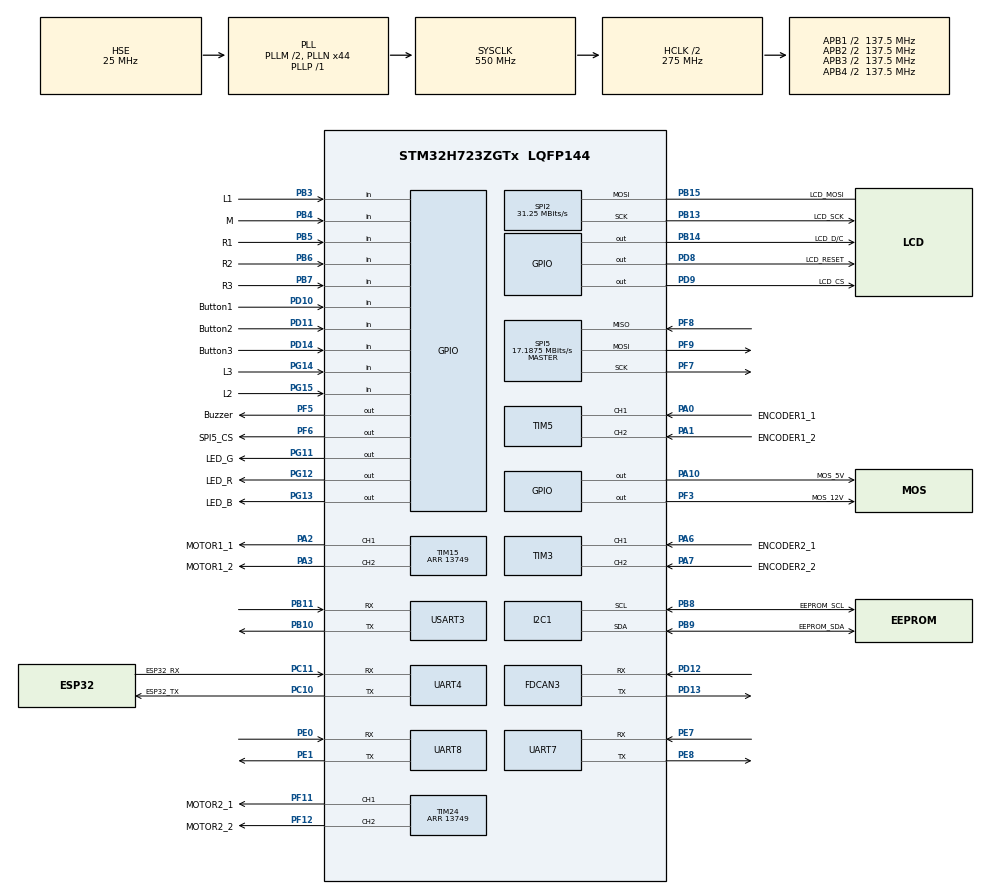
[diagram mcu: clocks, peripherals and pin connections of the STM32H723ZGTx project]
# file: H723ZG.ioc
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CORTEX_M7.default_mode_Activation=1
Dma.Request0=SPI2_TX
Dma.SPI2_TX.0.Direction=DMA_MEMORY_TO_PERIPH
Dma.SPI2_TX.0.EventEnable=DISABLE
Dma.SPI2_TX.0.FIFOMode=DMA_FIFOMODE_DISABLE
Dma.SPI2_TX.0.Instance=DMA1_Stream0
Dma.SPI2_TX.0.MemDataAlignment=DMA_MDATAALIGN_BYTE
Dma.SPI2_TX.0.MemInc=DMA_MINC_ENABLE
Dma.SPI2_TX.0.Mode=DMA_NORMAL
Dma.SPI2_TX.0.PeriphDataAlignment=DMA_PDATAALIGN_BYTE
Dma.SPI2_TX.0.PeriphInc=DMA_PINC_DISABLE
Dma.SPI2_TX.0.Polarity=HAL_DMAMUX_REQ_GEN_RISING
Dma.SPI2_TX.0.Priority=DMA_PRIORITY_HIGH
Dma.SPI2_TX.0.RequestNumber=1
Dma.SPI2_TX.0.SignalID=NONE
Dma.SPI2_TX.0.SyncEnable=DISABLE
Dma.SPI2_TX.0.SyncPolarity=HAL_DMAMUX_SYNC_NO_EVENT
Dma.SPI2_TX.0.SyncRequestNumber=1
Dma.SPI2_TX.0.SyncSignalID=NONE
FDCAN3.CalculateBaudRateNominal=2864583
FDCAN3.CalculateTimeBitNominal=349
FDCAN3.CalculateTimeQuantumNominal=116.36363636363636
FDCAN3.FrameFormat=FDCAN_FRAME_FD_BRS
I2C1.Timing=0x60404E72
Mcu.Family=STM32H7
Mcu.Name=STM32H723ZGTx
Mcu.Package=LQFP144
NVIC.DMA1_Stream0_IRQn=true\:5\:0\:false\:false\:true\:false\:true\:true
NVIC.SPI2_IRQn=true\:5\:0\:false\:false\:true\:true\:true\:true
NVIC.PriorityGroup=NVIC_PRIORITYGROUP_4
NVIC.TIM17_IRQn=true\:0\:0\:false\:false\:true\:true\:true\:true
PA0.GPIO_Label=ENCODER1_1
PA0.Signal=S_TIM5_CH1
PA1.GPIO_Label=ENCODER1_2
PA1.Signal=S_TIM5_CH2
PA10.GPIO_Label=MOS_5V
PA10.Signal=GPIO_Output
PA13(JTMS/SWDIO).Mode=Serial_Wire
PA13(JTMS/SWDIO).Signal=DEBUG_JTMS-SWDIO
PA14(JTCK/SWCLK).Mode=Serial_Wire
PA14(JTCK/SWCLK).Signal=DEBUG_JTCK-SWCLK
PA2.GPIO_Label=MOTOR1_1
PA2.Signal=S_TIM15_CH1
PA3.GPIO_Label=MOTOR1_2
PA3.Signal=S_TIM15_CH2
PA6.GPIO_Label=ENCODER2_1
PA6.Signal=S_TIM3_CH1
PA7.GPIO_Label=ENCODER2_2
PA7.Signal=S_TIM3_CH2
PB10.Mode=Asynchronous
PB10.Signal=USART3_TX
PB11.Mode=Asynchronous
PB11.Signal=USART3_RX
PB13.GPIO_Label=LCD_SCK
PB13.GPIO_Speed=GPIO_SPEED_FREQ_VERY_HIGH
PB13.Mode=Simplex_Bidirectional_Master
PB13.Signal=SPI2_SCK
PB14.GPIO_Label=LCD_D/C
PB14.Signal=GPIO_Output
PB15.GPIO_Label=LCD_MOSI
PB15.GPIO_Speed=GPIO_SPEED_FREQ_VERY_HIGH
PB15.Mode=Simplex_Bidirectional_Master
PB15.Signal=SPI2_MOSI
PB3(JTDO/TRACESWO).GPIO_Label=L1
PB3(JTDO/TRACESWO).GPIO_PuPd=GPIO_PULLUP
PB3(JTDO/TRACESWO).Signal=GPIO_Input
PB4(NJTRST).GPIO_Label=M
PB4(NJTRST).GPIO_PuPd=GPIO_PULLUP
PB4(NJTRST).Signal=GPIO_Input
PB5.GPIO_Label=R1
PB5.GPIO_PuPd=GPIO_PULLUP
PB5.Signal=GPIO_Input
PB6.GPIO_Label=R2
PB6.GPIO_PuPd=GPIO_PULLUP
PB6.Signal=GPIO_Input
PB7.GPIO_Label=R3
PB7.GPIO_PuPd=GPIO_PULLUP
PB7.Signal=GPIO_Input
PB8.GPIO_Label=EEPROM_SCL
PB8.Mode=I2C
PB8.Signal=I2C1_SCL
PB9.GPIO_Label=EEPROM_SDA
PB9.Mode=I2C
PB9.Signal=I2C1_SDA
PC10.GPIO_Label=ESP32_TX
PC10.Mode=Asynchronous
PC10.Signal=UART4_TX
PC11.GPIO_Label=ESP32_RX
PC11.Mode=Asynchronous
PC11.Signal=UART4_RX
PD10.GPIO_Label=Button1
PD10.GPIO_PuPd=GPIO_PULLUP
PD10.Signal=GPIO_Input
PD11.GPIO_Label=Button2
PD11.GPIO_PuPd=GPIO_PULLUP
PD11.Signal=GPIO_Input
PD12.Mode=FDCAN_Activate
PD12.Signal=FDCAN3_RX
PD13.Mode=FDCAN_Activate
PD13.Signal=FDCAN3_TX
PD14.GPIO_Label=Button3
PD14.GPIO_PuPd=GPIO_PULLUP
PD14.Signal=GPIO_Input
PD8.GPIO_Label=LCD_RESET
PD8.Signal=GPIO_Output
PD9.GPIO_Label=LCD_CS
PD9.Signal=GPIO_Output
PE0.Mode=Asynchronous
PE0.Signal=UART8_RX
PE1.Mode=Asynchronous
PE1.Signal=UART8_TX
PE7.Mode=Asynchronous
PE7.Signal=UART7_RX
PE8.Mode=Asynchronous
PE8.Signal=UART7_TX
PF11.GPIO_Label=MOTOR2_1
PF11.Mode=PWM Generation1 CH1
PF11.Signal=TIM24_CH1
PF12.GPIO_Label=MOTOR2_2
PF12.Signal=S_TIM24_CH2
PF3.GPIO_Label=MOS_12V
PF3.Signal=GPIO_Output
PF5.GPIO_Label=Buzzer
PF5.Signal=GPIO_Output
PF6.GPIO_Label=SPI5_CS
PF6.Signal=GPIO_Output
PF7.Mode=Full_Duplex_Master
PF7.Signal=SPI5_SCK
PF8.Mode=Full_Duplex_Master
PF8.Signal=SPI5_MISO
PF9.Mode=Full_Duplex_Master
PF9.Signal=SPI5_MOSI
PG11.GPIO_Label=LED_G
PG11.PinState=GPIO_PIN_SET
PG11.Signal=GPIO_Output
PG12.GPIO_Label=LED_R
PG12.PinState=GPIO_PIN_SET
PG12.Signal=GPIO_Output
PG13.GPIO_Label=LED_B
PG13.PinState=GPIO_PIN_SET
PG13.Signal=GPIO_Output
PG14.GPIO_Label=L3
PG14.GPIO_PuPd=GPIO_PULLUP
PG14.Signal=GPIO_Input
PG15.GPIO_Label=L2
PG15.GPIO_PuPd=GPIO_PULLUP
PG15.Signal=GPIO_Input
PH0-OSC_IN.Mode=HSE-External-Oscillator
PH0-OSC_IN.Signal=RCC_OSC_IN
PH1-OSC_OUT.Mode=HSE-External-Oscillator
PH1-OSC_OUT.Signal=RCC_OSC_OUT
ProjectManager.HeapSize=0x200
ProjectManager.StackSize=0x400
ProjectManager.TargetToolchain=CMake
RCC.ADCFreq_Value=250000000
RCC.APB1Freq_Value=137500000
RCC.APB2Freq_Value=137500000
RCC.APB3Freq_Value=137500000
RCC.APB4Freq_Value=137500000
RCC.CortexFreq_Value=550000000
RCC.D1PPRE=RCC_APB3_DIV2
RCC.D2PPRE1=RCC_APB1_DIV2
RCC.D2PPRE2=RCC_APB2_DIV2
RCC.D3PPRE=RCC_APB4_DIV2
RCC.DIVM1=2
RCC.DIVM2=2
RCC.DIVN1=44
RCC.DIVN2=40
RCC.DIVP1=1
RCC.DIVQ1=4
RCC.HCLKFreq_Value=275000000
RCC.HPRE=RCC_HCLK_DIV2
RCC.HSE_VALUE=25000000
RCC.PLL2FRACN=0
RCC.PLLFRACN=0
RCC.PLLSourceVirtual=RCC_PLLSOURCE_HSE
RCC.SPI123CLockSelection=RCC_SPI123CLKSOURCE_PLL2
RCC.SYSCLKFreq_VALUE=550000000
RCC.SYSCLKSource=RCC_SYSCLKSOURCE_PLLCLK
RCC.USBFreq_Value=137500000
SH.S_TIM15_CH1.0=TIM15_CH1,PWM Generation1 CH1
SH.S_TIM15_CH2.0=TIM15_CH2,PWM Generation2 CH2
SH.S_TIM24_CH2.0=TIM24_CH2,PWM Generation2 CH2
SH.S_TIM3_CH1.0=TIM3_CH1,Encoder_Interface
SH.S_TIM3_CH2.0=TIM3_CH2,Encoder_Interface
SH.S_TIM5_CH1.0=TIM5_CH1,Encoder_Interface
SH.S_TIM5_CH2.0=TIM5_CH2,Encoder_Interface
SPI2.BaudRatePrescaler=SPI_BAUDRATEPRESCALER_8
SPI2.CalculateBaudRate=31.25 MBits/s
SPI2.DataSize=SPI_DATASIZE_8BIT
SPI2.Direction=SPI_DIRECTION_1LINE
SPI2.Mode=SPI_MODE_MASTER
SPI2.VirtualType=VM_MASTER
SPI5.BaudRatePrescaler=SPI_BAUDRATEPRESCALER_8
SPI5.CLKPhase=SPI_PHASE_2EDGE
SPI5.CLKPolarity=SPI_POLARITY_HIGH
SPI5.CalculateBaudRate=17.1875 MBits/s
SPI5.DataSize=SPI_DATASIZE_8BIT
SPI5.Direction=SPI_DIRECTION_2LINES
SPI5.IOSwap=SPI_IO_SWAP_DISABLE
SPI5.Mode=SPI_MODE_MASTER
SPI5.NSSPMode=SPI_NSS_PULSE_DISABLE
SPI5.VirtualType=VM_MASTER
TIM15.Channel-PWM\ Generation1\ CH1=TIM_CHANNEL_1
TIM15.Channel-PWM\ Generation2\ CH2=TIM_CHANNEL_2
TIM15.Period=13749
TIM17.Period=27500-1
TIM17.Prescaler=10-1
TIM24.Channel-PWM\ Generation1\ CH1=TIM_CHANNEL_1
TIM24.Channel-PWM\ Generation2\ CH2=TIM_CHANNEL_2
TIM24.Period=13749
USART3.VirtualMode-Asynchronous=VM_ASYNC
VP_MEMORYMAP_VS_MEMORYMAP.Mode=CurAppReg
VP_TIM17_VS_ClockSourceINT.Mode=Enable_Timer
VP_VREFBUF_V_VREFBUF.Mode=ExternalMode
board=custom

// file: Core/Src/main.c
/* USER CODE BEGIN Header */
/**
  ******************************************************************************
  * @file           : main.c
  * @brief          : Main program body
  ******************************************************************************
  * @attention
  *
  * Copyright (c) 2026 STMicroelectronics.
  * All rights reserved.
  *
  * This software is licensed under terms that can be found in the LICENSE file
  * in the root directory of this software component.
  * If no LICENSE file comes with this software, it is provided AS-IS.
  *
  ******************************************************************************
  */
/* USER CODE END Header */
#include "main.h"
#include "dma.h"
#include "fdcan.h"
#include "i2c.h"
#include "spi.h"
#include "tim.h"
#include "usart.h"
#include "gpio.h"

/* USER CODE BEGIN Includes */
#include "drv8870.h"
#include "esp32_pid_protocol.h"
#include "icm45686.h"
#include "line_follower.h"
#include "pid_storage.h"
#include "st7789.h"
#include "task_ui.h"
/* USER CODE END Includes */

/* USER CODE BEGIN PV */
static DRV8870_HandleTypeDef motor1_driver;
static DRV8870_HandleTypeDef motor2_driver;
static ICM45686_HandleTypeDef imu_driver;
static uint8_t selected_task;
/* USER CODE END PV */

void SystemClock_Config(void);
static void MPU_Config(void);

/* USER CODE BEGIN 0 */

typedef void (*App_TaskStartFunction)(void);

static void App_StartTask1(void)
{
  LineFollower_Start();
}

/* Replace these placeholders as the remaining task implementations are added. */
static void App_StartTask2(void) {}
static void App_StartTask3(void) {}
static void App_StartTask4(void) {}
static void App_StartTask5(void) {}
static void App_StartTask6(void)
{
  LineFollower_StartStraight();
}

static const App_TaskStartFunction task_start_functions[TASK_UI_TASK_COUNT] =
{
  App_StartTask1,
  App_StartTask2,
  App_StartTask3,
  App_StartTask4,
  App_StartTask5,
  App_StartTask6
};

static void App_StartSelectedTask(uint8_t task_index)
{
  if (task_index >= TASK_UI_TASK_COUNT)
  {
    return;
  }

  /* Stop the current motion before handing control to another task. */
  LineFollower_Stop();
  task_start_functions[task_index]();
}

/* USER CODE END 0 */

int main(void)
{

  /* MPU Configuration--------------------------------------------------------*/
  MPU_Config();

  /* MCU Configuration--------------------------------------------------------*/

  /* Reset of all peripherals, Initializes the Flash interface and the Systick. */
  HAL_Init();

  /* Configure the system clock */
  SystemClock_Config();

  /* Initialize all configured peripherals */
  MX_GPIO_Init();
  MX_DMA_Init();
  MX_FDCAN3_Init();
  MX_SPI2_Init();
  MX_SPI5_Init();
  MX_TIM3_Init();
  MX_TIM5_Init();
  MX_TIM15_Init();
  MX_TIM24_Init();
  MX_UART4_Init();
  MX_I2C1_Init();
  MX_UART7_Init();
  MX_UART8_Init();
  MX_USART3_UART_Init();
  MX_TIM17_Init();
  /* USER CODE BEGIN 2 */
  if (DRV8870_Init(&motor1_driver, &htim15,
                   TIM_CHANNEL_1, TIM_CHANNEL_2) != DRV8870_OK)
  {
    Error_Handler();
  }

  if (DRV8870_Init(&motor2_driver, &htim24,
                   TIM_CHANNEL_2, TIM_CHANNEL_1) != DRV8870_OK)
  {
    Error_Handler();
  }

  HAL_GPIO_WritePin(MOS_5V_GPIO_Port, MOS_5V_Pin, GPIO_PIN_SET);
  HAL_GPIO_WritePin(MOS_12V_GPIO_Port, MOS_12V_Pin, GPIO_PIN_SET);
  HAL_Delay(20U);

  if (ICM45686_Init(&imu_driver, &hspi5,
                    SPI5_CS_GPIO_Port, SPI5_CS_Pin) != HAL_OK)
  {
    Error_Handler();
  }

  if (ST7789_Init(&hspi2) != HAL_OK)
  {
    Error_Handler();
  }

  if (LineFollower_Init(&motor1_driver, &motor2_driver,
                        &htim5, &htim3, &imu_driver) != HAL_OK)
  {
    Error_Handler();
  }
  {
    LineFollower_PIDConfigTypeDef pid_config;

    if (LineFollower_GetPIDConfig(&pid_config) != HAL_OK)
    {
      Error_Handler();
    }
    if (PIDStorage_Init(&hi2c1) == PID_STORAGE_OK)
    {
      PIDStorage_StatusTypeDef load_status = PIDStorage_Load(&pid_config);
      if (load_status == PID_STORAGE_OK)
      {
        if (LineFollower_SetPIDConfig(&pid_config) != HAL_OK)
        {
          (void)LineFollower_GetPIDConfig(&pid_config);
          (void)PIDStorage_Save(&pid_config);
        }
      }
      else if (load_status == PID_STORAGE_NOT_FOUND)
      {
        (void)PIDStorage_Save(&pid_config);
      }
    }
  }
  LineFollower_Stop();
  if (ESP32PID_Init(&huart4) != HAL_OK)
  {
    Error_Handler();
  }
  if (TaskUI_Init() != HAL_OK)
  {
    Error_Handler();
  }
  __HAL_TIM_SET_COUNTER(&htim17, 0U);
  if (HAL_TIM_Base_Start_IT(&htim17) != HAL_OK)
  {
    Error_Handler();
  }
  /* USER CODE END 2 */

  /* Infinite loop */
  /* USER CODE BEGIN WHILE */
  while (1)
  {
    TaskUI_EventTypeDef task_ui_event;

    ESP32PID_Process();
    task_ui_event = TaskUI_Process(&selected_task);
    if (task_ui_event == TASK_UI_EVENT_START)
    {
      App_StartSelectedTask(selected_task);
    }
    else if (task_ui_event == TASK_UI_EVENT_EXIT)
    {
      LineFollower_Stop();
    }

    if ((selected_task == 0U) &&
        (LineFollower_GetState()->stop_marker_tick != 0U))
    {
      TaskUI_StopwatchStopAt(
          LineFollower_GetState()->stop_marker_tick);
    }
    /* USER CODE END WHILE */

  }
}

void SystemClock_Config(void)
{
  RCC_OscInitTypeDef RCC_OscInitStruct = {0};
  RCC_ClkInitTypeDef RCC_ClkInitStruct = {0};

  /** Supply configuration update enable
  */
  HAL_PWREx_ConfigSupply(PWR_LDO_SUPPLY);

  /** Configure the main internal regulator output voltage
  */
  __HAL_PWR_VOLTAGESCALING_CONFIG(PWR_REGULATOR_VOLTAGE_SCALE0);

  while(!__HAL_PWR_GET_FLAG(PWR_FLAG_VOSRDY)) {}

  /** Initializes the RCC Oscillators according to the specified parameters
  * in the RCC_OscInitTypeDef structure.
  */
  RCC_OscInitStruct.OscillatorType = RCC_OSCILLATORTYPE_HSE;
  RCC_OscInitStruct.HSEState = RCC_HSE_ON;
  RCC_OscInitStruct.PLL.PLLState = RCC_PLL_ON;
  RCC_OscInitStruct.PLL.PLLSource = RCC_PLLSOURCE_HSE;
  RCC_OscInitStruct.PLL.PLLM = 2;
  RCC_OscInitStruct.PLL.PLLN = 44;
  RCC_OscInitStruct.PLL.PLLP = 1;
  RCC_OscInitStruct.PLL.PLLQ = 4;
  RCC_OscInitStruct.PLL.PLLR = 2;
  RCC_OscInitStruct.PLL.PLLRGE = RCC_PLL1VCIRANGE_3;
  RCC_OscInitStruct.PLL.PLLVCOSEL = RCC_PLL1VCOWIDE;
  RCC_OscInitStruct.PLL.PLLFRACN = 0;
  if (HAL_RCC_OscConfig(&RCC_OscInitStruct) != HAL_OK)
  {
    Error_Handler();
  }

  /** Initializes the CPU, AHB and APB buses clocks
  */
  RCC_ClkInitStruct.ClockType = RCC_CLOCKTYPE_HCLK|RCC_CLOCKTYPE_SYSCLK
                              |RCC_CLOCKTYPE_PCLK1|RCC_CLOCKTYPE_PCLK2
                              |RCC_CLOCKTYPE_D3PCLK1|RCC_CLOCKTYPE_D1PCLK1;
  RCC_ClkInitStruct.SYSCLKSource = RCC_SYSCLKSOURCE_PLLCLK;
  RCC_ClkInitStruct.SYSCLKDivider = RCC_SYSCLK_DIV1;
  RCC_ClkInitStruct.AHBCLKDivider = RCC_HCLK_DIV2;
  RCC_ClkInitStruct.APB3CLKDivider = RCC_APB3_DIV2;
  RCC_ClkInitStruct.APB1CLKDivider = RCC_APB1_DIV2;
  RCC_ClkInitStruct.APB2CLKDivider = RCC_APB2_DIV2;
  RCC_ClkInitStruct.APB4CLKDivider = RCC_APB4_DIV2;

  if (HAL_RCC_ClockConfig(&RCC_ClkInitStruct, FLASH_LATENCY_3) != HAL_OK)
  {
    Error_Handler();
  }
}

 /* MPU Configuration */

void MPU_Config(void)
{
  MPU_Region_InitTypeDef MPU_InitStruct = {0};

  /* Disables the MPU */
  HAL_MPU_Disable();

  /** Initializes and configures the Region and the memory to be protected
  */
  MPU_InitStruct.Enable = MPU_REGION_ENABLE;
  MPU_InitStruct.Number = MPU_REGION_NUMBER0;
  MPU_InitStruct.BaseAddress = 0x0;
  MPU_InitStruct.Size = MPU_REGION_SIZE_4GB;
  MPU_InitStruct.SubRegionDisable = 0x87;
  MPU_InitStruct.TypeExtField = MPU_TEX_LEVEL0;
  MPU_InitStruct.AccessPermission = MPU_REGION_NO_ACCESS;
  MPU_InitStruct.DisableExec = MPU_INSTRUCTION_ACCESS_DISABLE;
  MPU_InitStruct.IsShareable = MPU_ACCESS_SHAREABLE;
  MPU_InitStruct.IsCacheable = MPU_ACCESS_NOT_CACHEABLE;
  MPU_InitStruct.IsBufferable = MPU_ACCESS_NOT_BUFFERABLE;

  HAL_MPU_ConfigRegion(&MPU_InitStruct);
  /* Enables the MPU */
  HAL_MPU_Enable(MPU_PRIVILEGED_DEFAULT);

}

void Error_Handler(void)
{
  __disable_irq();
  while (1)
  {
  }
}
